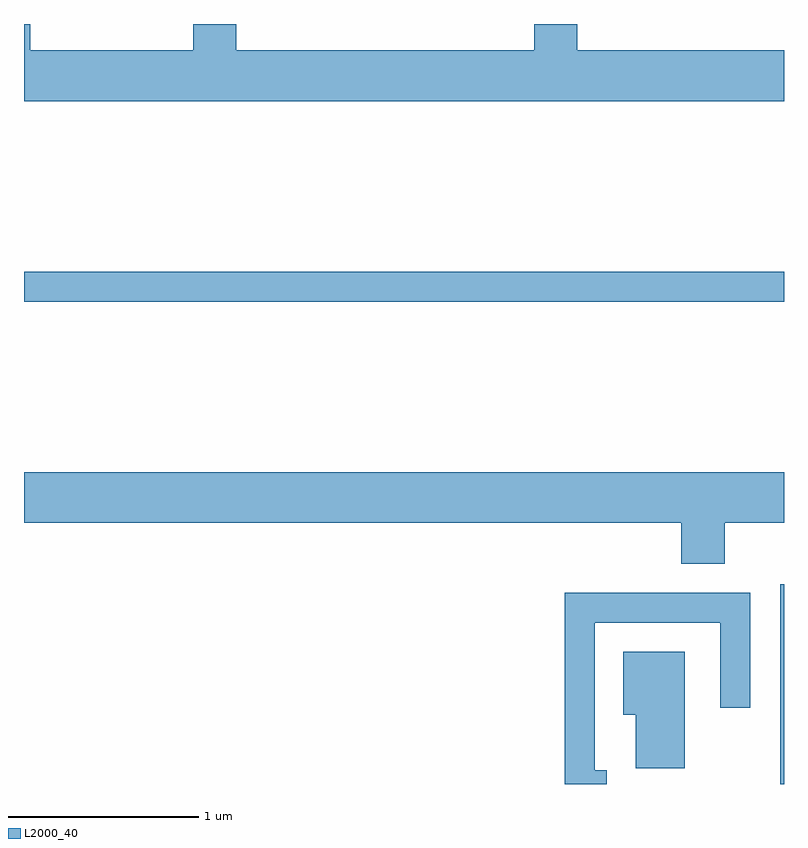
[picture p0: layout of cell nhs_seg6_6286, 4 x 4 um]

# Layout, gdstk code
import gdstk
lib = gdstk.Library(unit=1e-6, precision=1e-09)
def R(c, l, rs):  # rectangles x0, y0, x1, y1
    for r in rs: c.add(gdstk.rectangle(r[:2], r[2:], *l))
def P(c, l, *ps):  # polygons
    for p in ps: c.add(gdstk.Polygon(p, *l))
L2000_40 = (2000, 40)

nhs_seg6_6286 = lib.new_cell('nhs_seg6_6286')
R(nhs_seg6_6286, L2000_40, [(379.591,1604.162,379.611,1605.214), (375.611,1606.701,379.611,1606.859)])
P(nhs_seg6_6286, L2000_40, [(379.611,1608.024),(378.524,1608.024),(378.524,1608.162),(378.296,1608.162),(378.296,1608.024),(376.729,1608.024),(376.729,1608.162),(376.501,1608.162),(376.501,1608.024),(375.644,1608.024),(375.644,1608.162),(375.611,1608.162),(375.611,1607.756),(379.611,1607.756)],
  [(379.299,1605.536),(379.611,1605.536),(379.611,1605.804),(375.611,1605.804),(375.611,1605.536),(379.071,1605.536),(379.071,1605.321),(379.299,1605.321)],
  [(378.679,1604.234),(378.614,1604.234),(378.614,1605.011),(379.276,1605.011),(379.276,1604.563),(379.434,1604.563),(379.434,1605.169),(378.456,1605.169),(378.456,1604.162),(378.679,1604.162)],
  [(379.089,1604.859),(378.766,1604.859),(378.766,1604.526),(378.831,1604.526),(378.831,1604.246),(379.089,1604.246)])

lib.write_gds('nhs_seg6_6286.gds')
